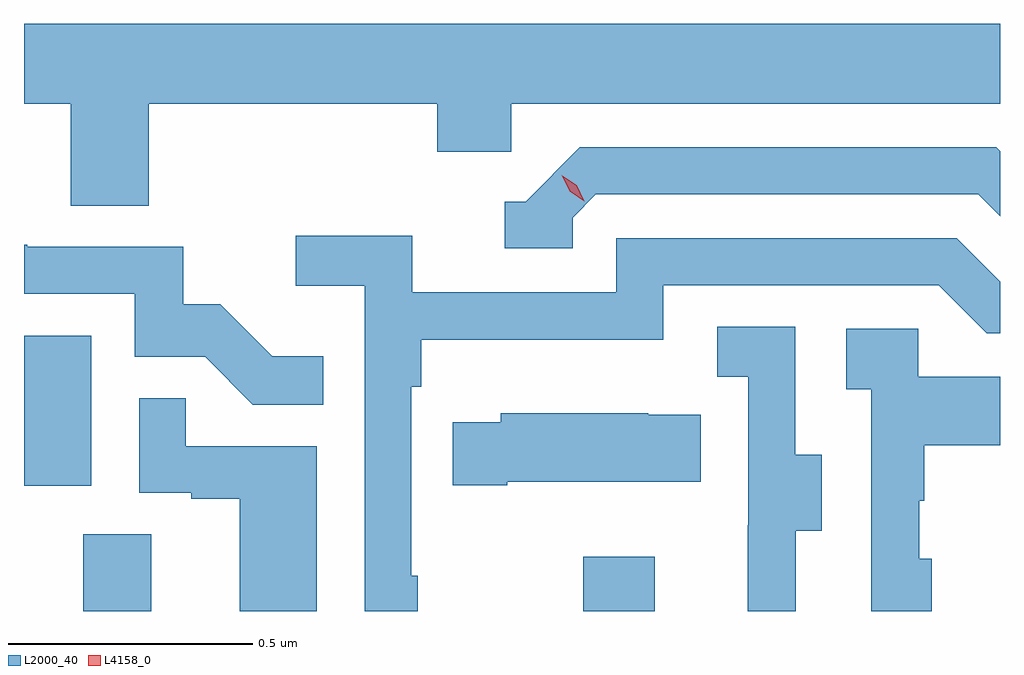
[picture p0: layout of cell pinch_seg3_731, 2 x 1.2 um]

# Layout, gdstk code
import gdstk
lib = gdstk.Library(unit=1e-6, precision=1e-09)
def R(c, l, rs):  # rectangles x0, y0, x1, y1
    for r in rs: c.add(gdstk.rectangle(r[:2], r[2:], *l))
def P(c, l, *ps):  # polygons
    for p in ps: c.add(gdstk.Polygon(p, *l))
L2000_40 = (2000, 40)
L4158_0 = (4158, 0)

pinch_seg3_731 = lib.new_cell('pinch_seg3_731')
R(pinch_seg3_731, L2000_40, [(1081.217,678.565,1081.357,678.722), (1082.242,678.565,1082.389,678.676), (1081.096,678.822,1081.234,679.129)])
P(pinch_seg3_731, L2000_40, [(1081.352,679.604),(1081.943,679.604),(1081.943,679.506),(1082.094,679.506),(1082.094,679.604),(1083.096,679.604),(1083.096,679.768),(1081.096,679.768),(1081.096,679.604),(1081.192,679.604),(1081.192,679.396),(1081.352,679.396)],
  [(1082.22,679.371),(1082.268,679.419),(1083.051,679.419),(1083.096,679.374),(1083.096,679.507),(1083.088,679.515),(1082.235,679.515),(1082.124,679.404),(1082.081,679.404),(1082.081,679.308),(1082.22,679.308)],
  [(1081.903,678.637),(1081.89,678.637),(1081.89,679.025),(1081.91,679.025),(1081.91,679.121),(1082.406,679.121),(1082.406,679.233),(1082.97,679.233),(1083.069,679.134),(1083.096,679.134),(1083.096,679.24),(1083.007,679.329),(1082.31,679.329),(1082.31,679.218),(1081.892,679.218),(1081.892,679.334),(1081.653,679.334),(1081.653,679.232),(1081.794,679.232),(1081.794,678.565),(1081.903,678.565)],
  [(1081.709,679.087),(1081.605,679.087),(1081.498,679.194),(1081.422,679.194),(1081.422,679.311),(1081.103,679.311),(1081.103,679.316),(1081.096,679.316),(1081.096,679.215),(1081.323,679.215),(1081.323,679.086),(1081.467,679.086),(1081.565,678.988),(1081.709,678.988)],
  [(1082.677,678.73),(1082.731,678.73),(1082.731,678.885),(1082.676,678.885),(1082.676,679.148),(1082.517,679.148),(1082.517,679.045),(1082.58,679.045),(1082.58,678.741),(1082.579,678.741),(1082.579,678.565),(1082.677,678.565)],
  [(1082.956,678.672),(1082.931,678.672),(1082.931,678.791),(1082.941,678.791),(1082.941,678.905),(1083.096,678.905),(1083.096,679.045),(1082.928,679.045),(1082.928,679.143),(1082.781,679.143),(1082.781,679.019),(1082.832,679.019),(1082.832,678.565),(1082.956,678.565)],
  [(1081.696,678.903),(1081.427,678.903),(1081.427,679.001),(1081.332,679.001),(1081.332,678.807),(1081.439,678.807),(1081.439,678.795),(1081.538,678.795),(1081.538,678.565),(1081.696,678.565)],
  [(1082.086,678.83),(1082.483,678.83),(1082.483,678.967),(1082.375,678.967),(1082.375,678.97),(1082.073,678.97),(1082.073,678.952),(1081.975,678.952),(1081.975,678.823),(1082.086,678.823)])
P(pinch_seg3_731, L4158_0, [(1082.244,679.405),(1082.214,679.425),(1082.198,679.458),(1082.198,679.458),(1082.198,679.458),(1082.229,679.438),(1082.244,679.405),(1082.244,679.405)])

lib.write_gds('pinch_seg3_731.gds')
